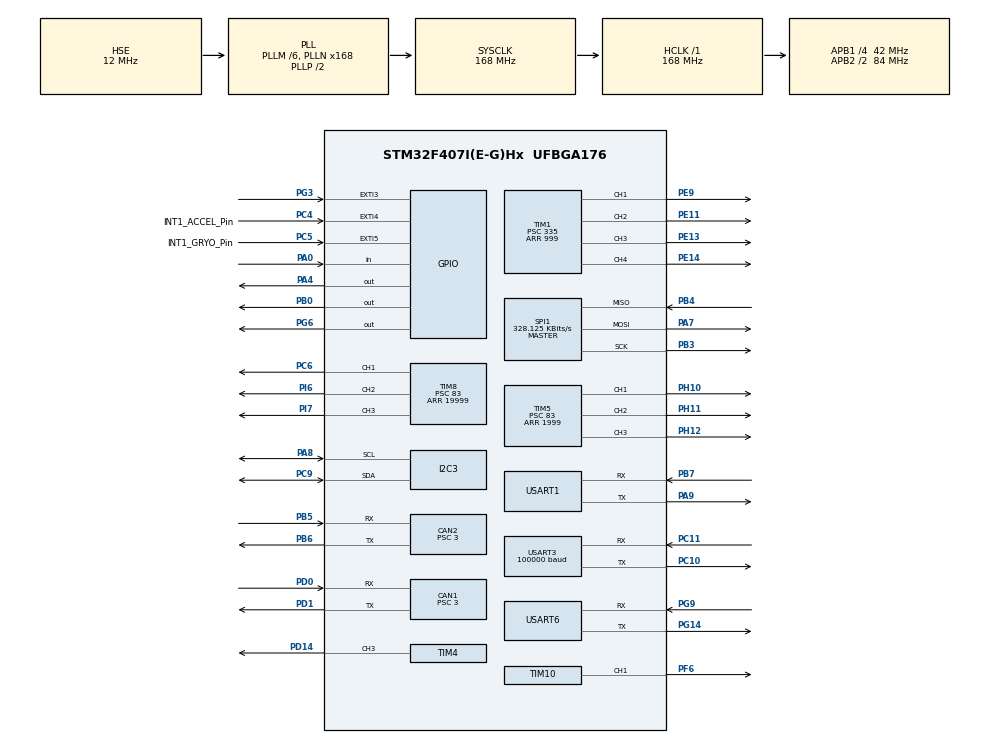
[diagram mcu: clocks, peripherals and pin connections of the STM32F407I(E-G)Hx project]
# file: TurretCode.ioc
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CAN1.BS1=CAN_BS1_10TQ
CAN1.BS2=CAN_BS2_3TQ
CAN1.CalculateBaudRate=1000000
CAN1.CalculateTimeBit=1000
CAN1.CalculateTimeQuantum=71.42857142857143
CAN1.Prescaler=3
CAN2.BS1=CAN_BS1_10TQ
CAN2.BS2=CAN_BS2_3TQ
CAN2.CalculateBaudRate=1000000
CAN2.CalculateTimeBit=1000
CAN2.CalculateTimeQuantum=71.42857142857143
CAN2.Prescaler=3
Dma.Request0=USART3_RX
Dma.Request1=USART1_TX
Dma.Request2=USART1_RX
Dma.Request3=USART6_RX
Dma.Request4=USART6_TX
Dma.Request5=TIM1_CH1
Dma.Request6=TIM8_CH1/CH2/CH3
Dma.Request7=TIM4_CH3
Dma.Request8=TIM5_CH1
Dma.Request9=TIM5_CH2
Dma.TIM1_CH1.5.Direction=DMA_PERIPH_TO_MEMORY
Dma.TIM1_CH1.5.FIFOMode=DMA_FIFOMODE_DISABLE
Dma.TIM1_CH1.5.Instance=DMA2_Stream3
Dma.TIM1_CH1.5.MemDataAlignment=DMA_MDATAALIGN_HALFWORD
Dma.TIM1_CH1.5.MemInc=DMA_MINC_ENABLE
Dma.TIM1_CH1.5.Mode=DMA_NORMAL
Dma.TIM1_CH1.5.PeriphDataAlignment=DMA_PDATAALIGN_HALFWORD
Dma.TIM1_CH1.5.PeriphInc=DMA_PINC_DISABLE
Dma.TIM1_CH1.5.Priority=DMA_PRIORITY_LOW
Dma.TIM4_CH3.7.Direction=DMA_PERIPH_TO_MEMORY
Dma.TIM4_CH3.7.FIFOMode=DMA_FIFOMODE_DISABLE
Dma.TIM4_CH3.7.Instance=DMA1_Stream7
Dma.TIM4_CH3.7.MemDataAlignment=DMA_MDATAALIGN_HALFWORD
Dma.TIM4_CH3.7.MemInc=DMA_MINC_ENABLE
Dma.TIM4_CH3.7.Mode=DMA_NORMAL
Dma.TIM4_CH3.7.PeriphDataAlignment=DMA_PDATAALIGN_HALFWORD
Dma.TIM4_CH3.7.PeriphInc=DMA_PINC_DISABLE
Dma.TIM4_CH3.7.Priority=DMA_PRIORITY_LOW
Dma.TIM5_CH1.8.Direction=DMA_PERIPH_TO_MEMORY
Dma.TIM5_CH1.8.FIFOMode=DMA_FIFOMODE_DISABLE
Dma.TIM5_CH1.8.Instance=DMA1_Stream2
Dma.TIM5_CH1.8.MemDataAlignment=DMA_MDATAALIGN_WORD
Dma.TIM5_CH1.8.MemInc=DMA_MINC_ENABLE
Dma.TIM5_CH1.8.Mode=DMA_NORMAL
Dma.TIM5_CH1.8.PeriphDataAlignment=DMA_PDATAALIGN_WORD
Dma.TIM5_CH1.8.PeriphInc=DMA_PINC_DISABLE
Dma.TIM5_CH1.8.Priority=DMA_PRIORITY_LOW
Dma.TIM5_CH2.9.Direction=DMA_PERIPH_TO_MEMORY
Dma.TIM5_CH2.9.FIFOMode=DMA_FIFOMODE_DISABLE
Dma.TIM5_CH2.9.Instance=DMA1_Stream4
Dma.TIM5_CH2.9.MemDataAlignment=DMA_MDATAALIGN_WORD
Dma.TIM5_CH2.9.MemInc=DMA_MINC_ENABLE
Dma.TIM5_CH2.9.Mode=DMA_NORMAL
Dma.TIM5_CH2.9.PeriphDataAlignment=DMA_PDATAALIGN_WORD
Dma.TIM5_CH2.9.PeriphInc=DMA_PINC_DISABLE
Dma.TIM5_CH2.9.Priority=DMA_PRIORITY_LOW
Dma.TIM8_CH1/CH2/CH3.6.Direction=DMA_PERIPH_TO_MEMORY
Dma.TIM8_CH1/CH2/CH3.6.FIFOMode=DMA_FIFOMODE_DISABLE
Dma.TIM8_CH1/CH2/CH3.6.Instance=DMA2_Stream2
Dma.TIM8_CH1/CH2/CH3.6.MemDataAlignment=DMA_MDATAALIGN_HALFWORD
Dma.TIM8_CH1/CH2/CH3.6.MemInc=DMA_MINC_ENABLE
Dma.TIM8_CH1/CH2/CH3.6.Mode=DMA_NORMAL
Dma.TIM8_CH1/CH2/CH3.6.PeriphDataAlignment=DMA_PDATAALIGN_HALFWORD
Dma.TIM8_CH1/CH2/CH3.6.PeriphInc=DMA_PINC_DISABLE
Dma.TIM8_CH1/CH2/CH3.6.Priority=DMA_PRIORITY_LOW
Dma.USART1_RX.2.Direction=DMA_PERIPH_TO_MEMORY
Dma.USART1_RX.2.FIFOMode=DMA_FIFOMODE_DISABLE
Dma.USART1_RX.2.Instance=DMA2_Stream5
Dma.USART1_RX.2.MemDataAlignment=DMA_MDATAALIGN_BYTE
Dma.USART1_RX.2.MemInc=DMA_MINC_ENABLE
Dma.USART1_RX.2.Mode=DMA_NORMAL
Dma.USART1_RX.2.PeriphDataAlignment=DMA_PDATAALIGN_BYTE
Dma.USART1_RX.2.PeriphInc=DMA_PINC_DISABLE
Dma.USART1_RX.2.Priority=DMA_PRIORITY_VERY_HIGH
Dma.USART1_TX.1.Direction=DMA_MEMORY_TO_PERIPH
Dma.USART1_TX.1.FIFOMode=DMA_FIFOMODE_DISABLE
Dma.USART1_TX.1.Instance=DMA2_Stream7
Dma.USART1_TX.1.MemDataAlignment=DMA_MDATAALIGN_BYTE
Dma.USART1_TX.1.MemInc=DMA_MINC_ENABLE
Dma.USART1_TX.1.Mode=DMA_NORMAL
Dma.USART1_TX.1.PeriphDataAlignment=DMA_PDATAALIGN_BYTE
Dma.USART1_TX.1.PeriphInc=DMA_PINC_DISABLE
Dma.USART1_TX.1.Priority=DMA_PRIORITY_VERY_HIGH
Dma.USART3_RX.0.Direction=DMA_PERIPH_TO_MEMORY
Dma.USART3_RX.0.FIFOMode=DMA_FIFOMODE_DISABLE
Dma.USART3_RX.0.Instance=DMA1_Stream1
Dma.USART3_RX.0.MemDataAlignment=DMA_MDATAALIGN_BYTE
Dma.USART3_RX.0.MemInc=DMA_MINC_ENABLE
Dma.USART3_RX.0.Mode=DMA_CIRCULAR
Dma.USART3_RX.0.PeriphDataAlignment=DMA_PDATAALIGN_BYTE
Dma.USART3_RX.0.PeriphInc=DMA_PINC_DISABLE
Dma.USART3_RX.0.Priority=DMA_PRIORITY_VERY_HIGH
Dma.USART6_RX.3.Direction=DMA_PERIPH_TO_MEMORY
Dma.USART6_RX.3.FIFOMode=DMA_FIFOMODE_DISABLE
Dma.USART6_RX.3.Instance=DMA2_Stream1
Dma.USART6_RX.3.MemDataAlignment=DMA_MDATAALIGN_BYTE
Dma.USART6_RX.3.MemInc=DMA_MINC_ENABLE
Dma.USART6_RX.3.Mode=DMA_NORMAL
Dma.USART6_RX.3.PeriphDataAlignment=DMA_PDATAALIGN_BYTE
Dma.USART6_RX.3.PeriphInc=DMA_PINC_DISABLE
Dma.USART6_RX.3.Priority=DMA_PRIORITY_VERY_HIGH
Dma.USART6_TX.4.Direction=DMA_MEMORY_TO_PERIPH
Dma.USART6_TX.4.FIFOMode=DMA_FIFOMODE_DISABLE
Dma.USART6_TX.4.Instance=DMA2_Stream6
Dma.USART6_TX.4.MemDataAlignment=DMA_MDATAALIGN_BYTE
Dma.USART6_TX.4.MemInc=DMA_MINC_ENABLE
Dma.USART6_TX.4.Mode=DMA_NORMAL
Dma.USART6_TX.4.PeriphDataAlignment=DMA_PDATAALIGN_BYTE
Dma.USART6_TX.4.PeriphInc=DMA_PINC_DISABLE
Dma.USART6_TX.4.Priority=DMA_PRIORITY_VERY_HIGH
FREERTOS.INCLUDE_pcTaskGetTaskName=1
FREERTOS.INCLUDE_xTaskGetHandle=1
FREERTOS.Tasks01=defaultTask,32,1024,TaskMain,Default,NULL,Dynamic,NULL,NULL;chassisTask,40,1024,TaskChassis,Default,NULL,Dynamic,NULL,NULL;IMUtempPIDtask,24,512,imu_temp_control_task,As weak,NULL,Dynamic,NULL,NULL;turretTask,24,1024,TaskTurret,Default,NULL,Dynamic,NULL,NULL
FREERTOS.configUSE_NEWLIB_REENTRANT=1
I2C3.I2C_Mode=I2C_Fast
Mcu.Family=STM32F4
Mcu.Name=STM32F407I(E-G)Hx
Mcu.Package=UFBGA176
NVIC.CAN1_RX0_IRQn=true\:5\:0\:false\:false\:true\:true\:true\:true\:true
NVIC.CAN2_RX0_IRQn=true\:5\:0\:false\:false\:true\:true\:true\:true\:true
NVIC.DMA1_Stream1_IRQn=true\:5\:0\:false\:false\:true\:true\:false\:true\:true
NVIC.DMA1_Stream2_IRQn=true\:5\:0\:false\:false\:true\:true\:false\:true\:true
NVIC.DMA1_Stream4_IRQn=true\:5\:0\:false\:false\:true\:true\:false\:true\:true
NVIC.DMA1_Stream7_IRQn=true\:5\:0\:false\:false\:true\:true\:false\:true\:true
NVIC.DMA2_Stream1_IRQn=true\:5\:0\:false\:false\:true\:true\:false\:true\:true
NVIC.DMA2_Stream2_IRQn=true\:5\:0\:false\:false\:true\:true\:false\:true\:true
NVIC.DMA2_Stream3_IRQn=true\:5\:0\:false\:false\:true\:true\:false\:true\:true
NVIC.DMA2_Stream5_IRQn=true\:5\:0\:false\:false\:true\:false\:false\:true\:true
NVIC.DMA2_Stream6_IRQn=true\:5\:0\:false\:false\:true\:true\:false\:true\:true
NVIC.DMA2_Stream7_IRQn=true\:5\:0\:false\:false\:true\:true\:false\:true\:true
NVIC.EXTI3_IRQn=true\:5\:0\:false\:false\:true\:true\:true\:true\:true
NVIC.EXTI4_IRQn=true\:5\:0\:false\:false\:true\:true\:true\:true\:true
NVIC.PriorityGroup=NVIC_PRIORITYGROUP_4
NVIC.USART1_IRQn=true\:5\:0\:false\:false\:true\:true\:true\:true\:true
NVIC.USART3_IRQn=true\:5\:0\:false\:false\:false\:true\:true\:true\:true
NVIC.USART6_IRQn=true\:5\:0\:false\:false\:true\:true\:true\:true\:true
PA0-WKUP.Signal=GPIO_Input
PA13.Mode=Serial_Wire
PA13.Signal=SYS_JTMS-SWDIO
PA14.Mode=Serial_Wire
PA14.Signal=SYS_JTCK-SWCLK
PA4.Signal=GPIO_Output
PA7.Mode=Full_Duplex_Master
PA7.Signal=SPI1_MOSI
PA8.Mode=I2C
PA8.Signal=I2C3_SCL
PA9.Mode=Asynchronous
PA9.Signal=USART1_TX
PB0.Signal=GPIO_Output
PB3.Mode=Full_Duplex_Master
PB3.Signal=SPI1_SCK
PB4.Mode=Full_Duplex_Master
PB4.Signal=SPI1_MISO
PB5.Mode=CAN_Activate
PB5.Signal=CAN2_RX
PB6.Mode=CAN_Activate
PB6.Signal=CAN2_TX
PB7.Mode=Asynchronous
PB7.Signal=USART1_RX
PC10.Mode=Asynchronous
PC10.Signal=USART3_TX
PC11.Mode=Asynchronous
PC11.Signal=USART3_RX
PC4.GPIO_Label=INT1_ACCEL_Pin
PC4.Signal=GPXTI4
PC5.GPIO_Label=INT1_GRYO_Pin
PC5.Signal=GPXTI5
PC6.Signal=S_TIM8_CH1
PC9.Mode=I2C
PC9.Signal=I2C3_SDA
PD0.Mode=CAN_Activate
PD0.Signal=CAN1_RX
PD1.Mode=CAN_Activate
PD1.Signal=CAN1_TX
PD14.Signal=S_TIM4_CH3
PE11.Signal=S_TIM1_CH2
PE13.Signal=S_TIM1_CH3
PE14.Signal=S_TIM1_CH4
PE9.Signal=S_TIM1_CH1
PF6.GPIO_PuPd=GPIO_PULLUP
PF6.GPIO_Speed=GPIO_SPEED_FREQ_HIGH
PF6.Signal=S_TIM10_CH1
PG14.Mode=Asynchronous
PG14.Signal=USART6_TX
PG3.Signal=GPXTI3
PG6.Signal=GPIO_Output
PG9.Mode=Asynchronous
PG9.Signal=USART6_RX
PH0-OSC_IN.Mode=HSE-External-Oscillator
PH0-OSC_IN.Signal=RCC_OSC_IN
PH1-OSC_OUT.Mode=HSE-External-Oscillator
PH1-OSC_OUT.Signal=RCC_OSC_OUT
PH10.Signal=S_TIM5_CH1
PH11.Signal=S_TIM5_CH2
PH12.Signal=S_TIM5_CH3
PI6.Signal=S_TIM8_CH2
PI7.Signal=S_TIM8_CH3
ProjectManager.HeapSize=0x200
ProjectManager.StackSize=0x400
ProjectManager.TargetToolchain=STM32CubeIDE
RCC.48MHZClocksFreq_Value=84000000
RCC.AHBFreq_Value=168000000
RCC.APB1CLKDivider=RCC_HCLK_DIV4
RCC.APB1Freq_Value=42000000
RCC.APB1TimFreq_Value=84000000
RCC.APB2CLKDivider=RCC_HCLK_DIV2
RCC.APB2Freq_Value=84000000
RCC.APB2TimFreq_Value=168000000
RCC.CortexFreq_Value=168000000
RCC.EnbaleCSS=true
RCC.HCLKFreq_Value=168000000
RCC.HSE_VALUE=12000000
RCC.HSI_VALUE=16000000
RCC.LSE_VALUE=32768
RCC.PLLM=6
RCC.PLLN=168
RCC.PLLSourceVirtual=RCC_PLLSOURCE_HSE
RCC.SYSCLKFreq_VALUE=168000000
RCC.SYSCLKSource=RCC_SYSCLKSOURCE_PLLCLK
RCC.VCOOutputFreq_Value=336000000
SH.S_TIM10_CH1.0=TIM10_CH1,PWM Generation1 CH1
SH.S_TIM1_CH1.0=TIM1_CH1,PWM Generation1 CH1
SH.S_TIM1_CH2.0=TIM1_CH2,PWM Generation2 CH2
SH.S_TIM1_CH3.0=TIM1_CH3,PWM Generation3 CH3
SH.S_TIM1_CH4.0=TIM1_CH4,PWM Generation4 CH4
SH.S_TIM4_CH3.0=TIM4_CH3,PWM Generation3 CH3
SH.S_TIM5_CH1.0=TIM5_CH1,PWM Generation1 CH1
SH.S_TIM5_CH2.0=TIM5_CH2,PWM Generation2 CH2
SH.S_TIM5_CH3.0=TIM5_CH3,PWM Generation3 CH3
SH.S_TIM8_CH1.0=TIM8_CH1,PWM Generation1 CH1
SH.S_TIM8_CH2.0=TIM8_CH2,PWM Generation2 CH2
SH.S_TIM8_CH3.0=TIM8_CH3,PWM Generation3 CH3
SPI1.BaudRatePrescaler=SPI_BAUDRATEPRESCALER_256
SPI1.CLKPhase=SPI_PHASE_2EDGE
SPI1.CLKPolarity=SPI_POLARITY_HIGH
SPI1.CalculateBaudRate=328.125 KBits/s
SPI1.Direction=SPI_DIRECTION_2LINES
SPI1.Mode=SPI_MODE_MASTER
SPI1.VirtualType=VM_MASTER
TIM1.AutoReloadPreload=TIM_AUTORELOAD_PRELOAD_DISABLE
TIM1.Channel-PWM\ Generation1\ CH1=TIM_CHANNEL_1
TIM1.Channel-PWM\ Generation2\ CH2=TIM_CHANNEL_2
TIM1.Channel-PWM\ Generation3\ CH3=TIM_CHANNEL_3
TIM1.Channel-PWM\ Generation4\ CH4=TIM_CHANNEL_4
TIM1.Period=999
TIM1.Prescaler=335
TIM1.Pulse-PWM\ Generation1\ CH1=0
TIM10.Channel=TIM_CHANNEL_1
TIM10.Period=4999
TIM4.AutoReloadPreload=TIM_AUTORELOAD_PRELOAD_ENABLE
TIM4.Channel-PWM\ Generation3\ CH3=TIM_CHANNEL_3
TIM4.Period=249
TIM4.Prescaler=83
TIM4.Pulse-PWM\ Generation3\ CH3=10499
TIM5.Channel-PWM\ Generation1\ CH1=TIM_CHANNEL_1
TIM5.Channel-PWM\ Generation2\ CH2=TIM_CHANNEL_2
TIM5.Channel-PWM\ Generation3\ CH3=TIM_CHANNEL_3
TIM5.Period=1999
TIM5.Prescaler=83
TIM8.AutoReloadPreload=TIM_AUTORELOAD_PRELOAD_ENABLE
TIM8.Channel-PWM\ Generation1\ CH1=TIM_CHANNEL_1
TIM8.Channel-PWM\ Generation2\ CH2=TIM_CHANNEL_2
TIM8.Channel-PWM\ Generation3\ CH3=TIM_CHANNEL_3
TIM8.Period=19999
TIM8.Prescaler=83
USART1.VirtualMode=VM_ASYNC
USART3.BaudRate=100000
USART3.Parity=PARITY_EVEN
USART3.VirtualMode=VM_ASYNC
USART6.VirtualMode=VM_ASYNC
VP_FREERTOS_VS_CMSIS_V2.Mode=CMSIS_V2
VP_TIM10_VS_ClockSourceINT.Mode=Enable_Timer
VP_TIM4_VS_ClockSourceINT.Mode=Internal
board=custom

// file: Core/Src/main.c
/* USER CODE BEGIN Header */
/**
  ******************************************************************************
  * @file           : main.c
  * @brief          : Main program body
  ******************************************************************************
  * @attention
  *
  * Copyright (c) 2024 STMicroelectronics.
  * All rights reserved.
  *
  * This software is licensed under terms that can be found in the LICENSE file
  * in the root directory of this software component.
  * If no LICENSE file comes with this software, it is provided AS-IS.
  *
  ******************************************************************************
  */
/* USER CODE END Header */
#include "main.h"
#include "cmsis_os.h"

/* USER CODE BEGIN Includes */
#include "CAN_receive.h"
#include "bsp_can.h"
#include "remote_control.h"
#include "bsp_rc.h"
#include "UART.h"
#include "stdio.h"
#include "stdarg.h"
#include "string.h"
#include "BMI088driver.h"
#include "pid.h"
#include "bsp_imu_pwm.h"
#include "ist8310driver.h"
#include "math.h"
#include "ctrl_handling.h"
#include "pwm.h"
/* USER CODE END Includes */

CAN_HandleTypeDef hcan1;
CAN_HandleTypeDef hcan2;

I2C_HandleTypeDef hi2c3;

SPI_HandleTypeDef hspi1;

TIM_HandleTypeDef htim1;
TIM_HandleTypeDef htim4;
TIM_HandleTypeDef htim5;
TIM_HandleTypeDef htim8;
TIM_HandleTypeDef htim10;
DMA_HandleTypeDef hdma_tim1_ch1;
DMA_HandleTypeDef hdma_tim4_ch3;
DMA_HandleTypeDef hdma_tim5_ch1;
DMA_HandleTypeDef hdma_tim5_ch2;
DMA_HandleTypeDef hdma_tim8_ch1_ch2_ch3;

UART_HandleTypeDef huart1;
UART_HandleTypeDef huart3;
UART_HandleTypeDef huart6;
DMA_HandleTypeDef hdma_usart1_tx;
DMA_HandleTypeDef hdma_usart1_rx;
DMA_HandleTypeDef hdma_usart3_rx;
DMA_HandleTypeDef hdma_usart6_rx;
DMA_HandleTypeDef hdma_usart6_tx;

/* Definitions for defaultTask */
osThreadId_t defaultTaskHandle;
const osThreadAttr_t defaultTask_attributes = {
  .name = "defaultTask",
  .stack_size = 1024 * 4,
  .priority = (osPriority_t) osPriorityAboveNormal,
};
/* Definitions for chassisTask */
osThreadId_t chassisTaskHandle;
const osThreadAttr_t chassisTask_attributes = {
  .name = "chassisTask",
  .stack_size = 1024 * 4,
  .priority = (osPriority_t) osPriorityHigh,
};
/* Definitions for IMUtempPIDtask */
osThreadId_t IMUtempPIDtaskHandle;
const osThreadAttr_t IMUtempPIDtask_attributes = {
  .name = "IMUtempPIDtask",
  .stack_size = 512 * 4,
  .priority = (osPriority_t) osPriorityNormal,
};
/* Definitions for turretTask */
osThreadId_t turretTaskHandle;
const osThreadAttr_t turretTask_attributes = {
  .name = "turretTask",
  .stack_size = 1024 * 4,
  .priority = (osPriority_t) osPriorityNormal,
};
/* USER CODE BEGIN PV */
const RC_ctrl_t *local_rc_ctrl;

PID_preset_t chassisPreset = {3.6, 0.015, 4.2};  //0.8f, 0.025f, 0.95f   {1.6, 0.045, 0.10}; 32 0.42
PID_preset_t yawPresetCurrentRPM = {46, 10.0, 16.4};
PID_preset_t yawPresetVoltageRPM = {50, 8.0, 2.0};
PID_preset_t yawPresetCurrentPosition = {12, 1, 0.0};
PID_preset_t yawPresetVoltagePosition = {36, 0.3, 0.0};
PID_preset_t indexerPreset = {1.1f, 0.02f, -2.4f};
PID_preset_t shooterPreset = {1.20f, 0.12f, 1.60f};
PID_preset_t powerPreset = {0, 0.000000000001, 0};
PID_preset_t customPreset = {0, 0, 0};
PID_preset_t DONUTMOTOR = {50, 8.0, 2.0}; // 46, 10, 16.4

int target = 2000;

can_msg_id_e boardID = CAN_b2b_B_ID;               // remember to change the board ID, board A - chassis, board B - Pitch axis

chassis_motor_config chassis = {{1,2,3,4,0,0,0,0}};
chassis_motor_RPM chassisTargetRPM = {{0,0,0,0,0,0,0,0}};
chassis_motor_current chassisTargetCurrent = {{0,0,0,0,0,0,0,0}};

extern game_status_t game_status;
extern power_heat_data_t power_heat_data;
extern robot_status_t robot_status;
extern b2b_motorCtrl_t b2bMotorCtrl;
extern b2b_gyro_t b2bGyro;
extern pc_control_t pc_control;
extern int8_t whichPWMisOn[11];

float calcChassisPower = 0;

/* USER CODE END PV */

void SystemClock_Config(void);
static void MX_GPIO_Init(void);
static void MX_DMA_Init(void);
static void MX_CAN1_Init(void);
static void MX_CAN2_Init(void);
static void MX_SPI1_Init(void);
static void MX_TIM4_Init(void);
static void MX_USART1_UART_Init(void);
static void MX_USART6_UART_Init(void);
static void MX_TIM1_Init(void);
static void MX_TIM8_Init(void);
static void MX_USART3_UART_Init(void);
static void MX_TIM10_Init(void);
static void MX_I2C3_Init(void);
static void MX_TIM5_Init(void);
void TaskMain(void *argument);
void TaskChassis(void *argument);
void imu_temp_control_task(void *argument);
void TaskTurret(void *argument);

int main(void)
{

  /* MCU Configuration--------------------------------------------------------*/

  /* Reset of all peripherals, Initializes the Flash interface and the Systick. */
  HAL_Init();

  /* Configure the system clock */
  SystemClock_Config();

  /* Initialize all configured peripherals */
  MX_GPIO_Init();
  MX_DMA_Init();
  MX_CAN1_Init();
  MX_CAN2_Init();
  MX_SPI1_Init();
  MX_TIM4_Init();
  MX_USART1_UART_Init();
  MX_USART6_UART_Init();
  MX_TIM1_Init();
  MX_TIM8_Init();
  MX_USART3_UART_Init();
  MX_TIM10_Init();
  MX_I2C3_Init();
  MX_TIM5_Init();
  /* USER CODE BEGIN 2 */
  PWMInit(&htim1, &htim4, &htim5, &htim8);
  can_filter_init();
  remote_control_init();
  usart_Init();
  local_rc_ctrl = get_remote_control_point();

  //__HAL_UART_ENABLE_IT(&huart1,UART_IT_IDLE);
  /* USER CODE END 2 */

  /* Init scheduler */
  osKernelInitialize();

  /* Create the thread(s) */
  /* creation of defaultTask */
  defaultTaskHandle = osThreadNew(TaskMain, NULL, &defaultTask_attributes);

  /* creation of chassisTask */
  chassisTaskHandle = osThreadNew(TaskChassis, NULL, &chassisTask_attributes);

  /* creation of IMUtempPIDtask */
  IMUtempPIDtaskHandle = osThreadNew(imu_temp_control_task, NULL, &IMUtempPIDtask_attributes);

  /* creation of turretTask */
  turretTaskHandle = osThreadNew(TaskTurret, NULL, &turretTask_attributes);

  /* Start scheduler */
  osKernelStart();

  /* We should never get here as control is now taken by the scheduler */

  /* Infinite loop */
  while (1)
  {

  }
}

void SystemClock_Config(void)
{
  RCC_OscInitTypeDef RCC_OscInitStruct = {0};
  RCC_ClkInitTypeDef RCC_ClkInitStruct = {0};

  /** Configure the main internal regulator output voltage
  */
  __HAL_RCC_PWR_CLK_ENABLE();
  __HAL_PWR_VOLTAGESCALING_CONFIG(PWR_REGULATOR_VOLTAGE_SCALE1);

  /** Initializes the RCC Oscillators according to the specified parameters
  * in the RCC_OscInitTypeDef structure.
  */
  RCC_OscInitStruct.OscillatorType = RCC_OSCILLATORTYPE_HSE;
  RCC_OscInitStruct.HSEState = RCC_HSE_ON;
  RCC_OscInitStruct.PLL.PLLState = RCC_PLL_ON;
  RCC_OscInitStruct.PLL.PLLSource = RCC_PLLSOURCE_HSE;
  RCC_OscInitStruct.PLL.PLLM = 6;
  RCC_OscInitStruct.PLL.PLLN = 168;
  RCC_OscInitStruct.PLL.PLLP = RCC_PLLP_DIV2;
  RCC_OscInitStruct.PLL.PLLQ = 4;
  if (HAL_RCC_OscConfig(&RCC_OscInitStruct) != HAL_OK)
  {
    Error_Handler();
  }

  /** Initializes the CPU, AHB and APB buses clocks
  */
  RCC_ClkInitStruct.ClockType = RCC_CLOCKTYPE_HCLK|RCC_CLOCKTYPE_SYSCLK
                              |RCC_CLOCKTYPE_PCLK1|RCC_CLOCKTYPE_PCLK2;
  RCC_ClkInitStruct.SYSCLKSource = RCC_SYSCLKSOURCE_PLLCLK;
  RCC_ClkInitStruct.AHBCLKDivider = RCC_SYSCLK_DIV1;
  RCC_ClkInitStruct.APB1CLKDivider = RCC_HCLK_DIV4;
  RCC_ClkInitStruct.APB2CLKDivider = RCC_HCLK_DIV2;

  if (HAL_RCC_ClockConfig(&RCC_ClkInitStruct, FLASH_LATENCY_5) != HAL_OK)
  {
    Error_Handler();
  }

  /** Enables the Clock Security System
  */
  HAL_RCC_EnableCSS();
}

static void MX_CAN1_Init(void)
{

  hcan1.Instance = CAN1;
  hcan1.Init.Prescaler = 3;
  hcan1.Init.Mode = CAN_MODE_NORMAL;
  hcan1.Init.SyncJumpWidth = CAN_SJW_1TQ;
  hcan1.Init.TimeSeg1 = CAN_BS1_10TQ;
  hcan1.Init.TimeSeg2 = CAN_BS2_3TQ;
  hcan1.Init.TimeTriggeredMode = DISABLE;
  hcan1.Init.AutoBusOff = DISABLE;
  hcan1.Init.AutoWakeUp = DISABLE;
  hcan1.Init.AutoRetransmission = DISABLE;
  hcan1.Init.ReceiveFifoLocked = DISABLE;
  hcan1.Init.TransmitFifoPriority = DISABLE;
  if (HAL_CAN_Init(&hcan1) != HAL_OK)
  {
    Error_Handler();
  }

}

static void MX_CAN2_Init(void)
{

  hcan2.Instance = CAN2;
  hcan2.Init.Prescaler = 3;
  hcan2.Init.Mode = CAN_MODE_NORMAL;
  hcan2.Init.SyncJumpWidth = CAN_SJW_1TQ;
  hcan2.Init.TimeSeg1 = CAN_BS1_10TQ;
  hcan2.Init.TimeSeg2 = CAN_BS2_3TQ;
  hcan2.Init.TimeTriggeredMode = DISABLE;
  hcan2.Init.AutoBusOff = DISABLE;
  hcan2.Init.AutoWakeUp = DISABLE;
  hcan2.Init.AutoRetransmission = DISABLE;
  hcan2.Init.ReceiveFifoLocked = DISABLE;
  hcan2.Init.TransmitFifoPriority = DISABLE;
  if (HAL_CAN_Init(&hcan2) != HAL_OK)
  {
    Error_Handler();
  }

}

static void MX_I2C3_Init(void)
{

  hi2c3.Instance = I2C3;
  hi2c3.Init.ClockSpeed = 400000;
  hi2c3.Init.DutyCycle = I2C_DUTYCYCLE_2;
  hi2c3.Init.OwnAddress1 = 0;
  hi2c3.Init.AddressingMode = I2C_ADDRESSINGMODE_7BIT;
  hi2c3.Init.DualAddressMode = I2C_DUALADDRESS_DISABLE;
  hi2c3.Init.OwnAddress2 = 0;
  hi2c3.Init.GeneralCallMode = I2C_GENERALCALL_DISABLE;
  hi2c3.Init.NoStretchMode = I2C_NOSTRETCH_DISABLE;
  if (HAL_I2C_Init(&hi2c3) != HAL_OK)
  {
    Error_Handler();
  }

}

static void MX_SPI1_Init(void)
{

  /* SPI1 parameter configuration*/
  hspi1.Instance = SPI1;
  hspi1.Init.Mode = SPI_MODE_MASTER;
  hspi1.Init.Direction = SPI_DIRECTION_2LINES;
  hspi1.Init.DataSize = SPI_DATASIZE_8BIT;
  hspi1.Init.CLKPolarity = SPI_POLARITY_HIGH;
  hspi1.Init.CLKPhase = SPI_PHASE_2EDGE;
  hspi1.Init.NSS = SPI_NSS_SOFT;
  hspi1.Init.BaudRatePrescaler = SPI_BAUDRATEPRESCALER_256;
  hspi1.Init.FirstBit = SPI_FIRSTBIT_MSB;
  hspi1.Init.TIMode = SPI_TIMODE_DISABLE;
  hspi1.Init.CRCCalculation = SPI_CRCCALCULATION_DISABLE;
  hspi1.Init.CRCPolynomial = 10;
  if (HAL_SPI_Init(&hspi1) != HAL_OK)
  {
    Error_Handler();
  }

}

static void MX_TIM1_Init(void)
{

  TIM_MasterConfigTypeDef sMasterConfig = {0};
  TIM_OC_InitTypeDef sConfigOC = {0};
  TIM_BreakDeadTimeConfigTypeDef sBreakDeadTimeConfig = {0};

  htim1.Instance = TIM1;
  htim1.Init.Prescaler = 335;
  htim1.Init.CounterMode = TIM_COUNTERMODE_UP;
  htim1.Init.Period = 999;
  htim1.Init.ClockDivision = TIM_CLOCKDIVISION_DIV1;
  htim1.Init.RepetitionCounter = 0;
  htim1.Init.AutoReloadPreload = TIM_AUTORELOAD_PRELOAD_DISABLE;
  if (HAL_TIM_PWM_Init(&htim1) != HAL_OK)
  {
    Error_Handler();
  }
  sMasterConfig.MasterOutputTrigger = TIM_TRGO_RESET;
  sMasterConfig.MasterSlaveMode = TIM_MASTERSLAVEMODE_DISABLE;
  if (HAL_TIMEx_MasterConfigSynchronization(&htim1, &sMasterConfig) != HAL_OK)
  {
    Error_Handler();
  }
  sConfigOC.OCMode = TIM_OCMODE_PWM1;
  sConfigOC.Pulse = 0;
  sConfigOC.OCPolarity = TIM_OCPOLARITY_HIGH;
  sConfigOC.OCNPolarity = TIM_OCNPOLARITY_HIGH;
  sConfigOC.OCFastMode = TIM_OCFAST_DISABLE;
  sConfigOC.OCIdleState = TIM_OCIDLESTATE_RESET;
  sConfigOC.OCNIdleState = TIM_OCNIDLESTATE_RESET;
  if (HAL_TIM_PWM_ConfigChannel(&htim1, &sConfigOC, TIM_CHANNEL_1) != HAL_OK)
  {
    Error_Handler();
  }
  if (HAL_TIM_PWM_ConfigChannel(&htim1, &sConfigOC, TIM_CHANNEL_2) != HAL_OK)
  {
    Error_Handler();
  }
  if (HAL_TIM_PWM_ConfigChannel(&htim1, &sConfigOC, TIM_CHANNEL_3) != HAL_OK)
  {
    Error_Handler();
  }
  if (HAL_TIM_PWM_ConfigChannel(&htim1, &sConfigOC, TIM_CHANNEL_4) != HAL_OK)
  {
    Error_Handler();
  }
  sBreakDeadTimeConfig.OffStateRunMode = TIM_OSSR_DISABLE;
  sBreakDeadTimeConfig.OffStateIDLEMode = TIM_OSSI_DISABLE;
  sBreakDeadTimeConfig.LockLevel = TIM_LOCKLEVEL_OFF;
  sBreakDeadTimeConfig.DeadTime = 0;
  sBreakDeadTimeConfig.BreakState = TIM_BREAK_DISABLE;
  sBreakDeadTimeConfig.BreakPolarity = TIM_BREAKPOLARITY_HIGH;
  sBreakDeadTimeConfig.AutomaticOutput = TIM_AUTOMATICOUTPUT_DISABLE;
  if (HAL_TIMEx_ConfigBreakDeadTime(&htim1, &sBreakDeadTimeConfig) != HAL_OK)
  {
    Error_Handler();
  }
  HAL_TIM_MspPostInit(&htim1);

}

static void MX_TIM4_Init(void)
{

  TIM_ClockConfigTypeDef sClockSourceConfig = {0};
  TIM_MasterConfigTypeDef sMasterConfig = {0};
  TIM_OC_InitTypeDef sConfigOC = {0};

  htim4.Instance = TIM4;
  htim4.Init.Prescaler = 83;
  htim4.Init.CounterMode = TIM_COUNTERMODE_UP;
  htim4.Init.Period = 249;
  htim4.Init.ClockDivision = TIM_CLOCKDIVISION_DIV1;
  htim4.Init.AutoReloadPreload = TIM_AUTORELOAD_PRELOAD_ENABLE;
  if (HAL_TIM_Base_Init(&htim4) != HAL_OK)
  {
    Error_Handler();
  }
  sClockSourceConfig.ClockSource = TIM_CLOCKSOURCE_INTERNAL;
  if (HAL_TIM_ConfigClockSource(&htim4, &sClockSourceConfig) != HAL_OK)
  {
    Error_Handler();
  }
  if (HAL_TIM_PWM_Init(&htim4) != HAL_OK)
  {
    Error_Handler();
  }
  sMasterConfig.MasterOutputTrigger = TIM_TRGO_RESET;
  sMasterConfig.MasterSlaveMode = TIM_MASTERSLAVEMODE_DISABLE;
  if (HAL_TIMEx_MasterConfigSynchronization(&htim4, &sMasterConfig) != HAL_OK)
  {
    Error_Handler();
  }
  sConfigOC.OCMode = TIM_OCMODE_PWM1;
  sConfigOC.Pulse = 10499;
  sConfigOC.OCPolarity = TIM_OCPOLARITY_HIGH;
  sConfigOC.OCFastMode = TIM_OCFAST_DISABLE;
  if (HAL_TIM_PWM_ConfigChannel(&htim4, &sConfigOC, TIM_CHANNEL_3) != HAL_OK)
  {
    Error_Handler();
  }
  HAL_TIM_MspPostInit(&htim4);

}

static void MX_TIM5_Init(void)
{

  TIM_MasterConfigTypeDef sMasterConfig = {0};
  TIM_OC_InitTypeDef sConfigOC = {0};

  htim5.Instance = TIM5;
  htim5.Init.Prescaler = 83;
  htim5.Init.CounterMode = TIM_COUNTERMODE_UP;
  htim5.Init.Period = 1999;
  htim5.Init.ClockDivision = TIM_CLOCKDIVISION_DIV1;
  htim5.Init.AutoReloadPreload = TIM_AUTORELOAD_PRELOAD_DISABLE;
  if (HAL_TIM_PWM_Init(&htim5) != HAL_OK)
  {
    Error_Handler();
  }
  sMasterConfig.MasterOutputTrigger = TIM_TRGO_RESET;
  sMasterConfig.MasterSlaveMode = TIM_MASTERSLAVEMODE_DISABLE;
  if (HAL_TIMEx_MasterConfigSynchronization(&htim5, &sMasterConfig) != HAL_OK)
  {
    Error_Handler();
  }
  sConfigOC.OCMode = TIM_OCMODE_PWM1;
  sConfigOC.Pulse = 0;
  sConfigOC.OCPolarity = TIM_OCPOLARITY_HIGH;
  sConfigOC.OCFastMode = TIM_OCFAST_DISABLE;
  if (HAL_TIM_PWM_ConfigChannel(&htim5, &sConfigOC, TIM_CHANNEL_1) != HAL_OK)
  {
    Error_Handler();
  }
  if (HAL_TIM_PWM_ConfigChannel(&htim5, &sConfigOC, TIM_CHANNEL_2) != HAL_OK)
  {
    Error_Handler();
  }
  if (HAL_TIM_PWM_ConfigChannel(&htim5, &sConfigOC, TIM_CHANNEL_3) != HAL_OK)
  {
    Error_Handler();
  }
  HAL_TIM_MspPostInit(&htim5);

}

static void MX_TIM8_Init(void)
{

  TIM_MasterConfigTypeDef sMasterConfig = {0};
  TIM_OC_InitTypeDef sConfigOC = {0};
  TIM_BreakDeadTimeConfigTypeDef sBreakDeadTimeConfig = {0};

  htim8.Instance = TIM8;
  htim8.Init.Prescaler = 83;
  htim8.Init.CounterMode = TIM_COUNTERMODE_UP;
  htim8.Init.Period = 19999;
  htim8.Init.ClockDivision = TIM_CLOCKDIVISION_DIV1;
  htim8.Init.RepetitionCounter = 0;
  htim8.Init.AutoReloadPreload = TIM_AUTORELOAD_PRELOAD_ENABLE;
  if (HAL_TIM_PWM_Init(&htim8) != HAL_OK)
  {
    Error_Handler();
  }
  sMasterConfig.MasterOutputTrigger = TIM_TRGO_RESET;
  sMasterConfig.MasterSlaveMode = TIM_MASTERSLAVEMODE_DISABLE;
  if (HAL_TIMEx_MasterConfigSynchronization(&htim8, &sMasterConfig) != HAL_OK)
  {
    Error_Handler();
  }
  sConfigOC.OCMode = TIM_OCMODE_PWM1;
  sConfigOC.Pulse = 0;
  sConfigOC.OCPolarity = TIM_OCPOLARITY_HIGH;
  sConfigOC.OCNPolarity = TIM_OCNPOLARITY_HIGH;
  sConfigOC.OCFastMode = TIM_OCFAST_DISABLE;
  sConfigOC.OCIdleState = TIM_OCIDLESTATE_RESET;
  sConfigOC.OCNIdleState = TIM_OCNIDLESTATE_RESET;
  if (HAL_TIM_PWM_ConfigChannel(&htim8, &sConfigOC, TIM_CHANNEL_1) != HAL_OK)
  {
    Error_Handler();
  }
  if (HAL_TIM_PWM_ConfigChannel(&htim8, &sConfigOC, TIM_CHANNEL_2) != HAL_OK)
  {
    Error_Handler();
  }
  if (HAL_TIM_PWM_ConfigChannel(&htim8, &sConfigOC, TIM_CHANNEL_3) != HAL_OK)
  {
    Error_Handler();
  }
  sBreakDeadTimeConfig.OffStateRunMode = TIM_OSSR_DISABLE;
  sBreakDeadTimeConfig.OffStateIDLEMode = TIM_OSSI_DISABLE;
  sBreakDeadTimeConfig.LockLevel = TIM_LOCKLEVEL_OFF;
  sBreakDeadTimeConfig.DeadTime = 0;
  sBreakDeadTimeConfig.BreakState = TIM_BREAK_DISABLE;
  sBreakDeadTimeConfig.BreakPolarity = TIM_BREAKPOLARITY_HIGH;
  sBreakDeadTimeConfig.AutomaticOutput = TIM_AUTOMATICOUTPUT_DISABLE;
  if (HAL_TIMEx_ConfigBreakDeadTime(&htim8, &sBreakDeadTimeConfig) != HAL_OK)
  {
    Error_Handler();
  }
  HAL_TIM_MspPostInit(&htim8);

}

static void MX_TIM10_Init(void)
{

  TIM_OC_InitTypeDef sConfigOC = {0};

  htim10.Instance = TIM10;
  htim10.Init.Prescaler = 0;
  htim10.Init.CounterMode = TIM_COUNTERMODE_UP;
  htim10.Init.Period = 4999;
  htim10.Init.ClockDivision = TIM_CLOCKDIVISION_DIV1;
  htim10.Init.AutoReloadPreload = TIM_AUTORELOAD_PRELOAD_DISABLE;
  if (HAL_TIM_Base_Init(&htim10) != HAL_OK)
  {
    Error_Handler();
  }
  if (HAL_TIM_PWM_Init(&htim10) != HAL_OK)
  {
    Error_Handler();
  }
  sConfigOC.OCMode = TIM_OCMODE_PWM1;
  sConfigOC.Pulse = 0;
  sConfigOC.OCPolarity = TIM_OCPOLARITY_HIGH;
  sConfigOC.OCFastMode = TIM_OCFAST_DISABLE;
  if (HAL_TIM_PWM_ConfigChannel(&htim10, &sConfigOC, TIM_CHANNEL_1) != HAL_OK)
  {
    Error_Handler();
  }
  HAL_TIM_MspPostInit(&htim10);

}

static void MX_USART1_UART_Init(void)
{

  huart1.Instance = USART1;
  huart1.Init.BaudRate = 115200;
  huart1.Init.WordLength = UART_WORDLENGTH_8B;
  huart1.Init.StopBits = UART_STOPBITS_1;
  huart1.Init.Parity = UART_PARITY_NONE;
  huart1.Init.Mode = UART_MODE_TX_RX;
  huart1.Init.HwFlowCtl = UART_HWCONTROL_NONE;
  huart1.Init.OverSampling = UART_OVERSAMPLING_16;
  if (HAL_UART_Init(&huart1) != HAL_OK)
  {
    Error_Handler();
  }

}

static void MX_USART3_UART_Init(void)
{

  huart3.Instance = USART3;
  huart3.Init.BaudRate = 100000;
  huart3.Init.WordLength = UART_WORDLENGTH_8B;
  huart3.Init.StopBits = UART_STOPBITS_1;
  huart3.Init.Parity = UART_PARITY_EVEN;
  huart3.Init.Mode = UART_MODE_TX_RX;
  huart3.Init.HwFlowCtl = UART_HWCONTROL_NONE;
  huart3.Init.OverSampling = UART_OVERSAMPLING_16;
  if (HAL_UART_Init(&huart3) != HAL_OK)
  {
    Error_Handler();
  }

}

static void MX_USART6_UART_Init(void)
{

  huart6.Instance = USART6;
  huart6.Init.BaudRate = 115200;
  huart6.Init.WordLength = UART_WORDLENGTH_8B;
  huart6.Init.StopBits = UART_STOPBITS_1;
  huart6.Init.Parity = UART_PARITY_NONE;
  huart6.Init.Mode = UART_MODE_TX_RX;
  huart6.Init.HwFlowCtl = UART_HWCONTROL_NONE;
  huart6.Init.OverSampling = UART_OVERSAMPLING_16;
  if (HAL_UART_Init(&huart6) != HAL_OK)
  {
    Error_Handler();
  }

}

static void MX_DMA_Init(void)
{

  /* DMA controller clock enable */
  __HAL_RCC_DMA1_CLK_ENABLE();
  __HAL_RCC_DMA2_CLK_ENABLE();

  /* DMA interrupt init */
  /* DMA1_Stream1_IRQn interrupt configuration */
  HAL_NVIC_SetPriority(DMA1_Stream1_IRQn, 5, 0);
  HAL_NVIC_EnableIRQ(DMA1_Stream1_IRQn);
  /* DMA1_Stream2_IRQn interrupt configuration */
  HAL_NVIC_SetPriority(DMA1_Stream2_IRQn, 5, 0);
  HAL_NVIC_EnableIRQ(DMA1_Stream2_IRQn);
  /* DMA1_Stream4_IRQn interrupt configuration */
  HAL_NVIC_SetPriority(DMA1_Stream4_IRQn, 5, 0);
  HAL_NVIC_EnableIRQ(DMA1_Stream4_IRQn);
  /* DMA1_Stream7_IRQn interrupt configuration */
  HAL_NVIC_SetPriority(DMA1_Stream7_IRQn, 5, 0);
  HAL_NVIC_EnableIRQ(DMA1_Stream7_IRQn);
  /* DMA2_Stream1_IRQn interrupt configuration */
  HAL_NVIC_SetPriority(DMA2_Stream1_IRQn, 5, 0);
  HAL_NVIC_EnableIRQ(DMA2_Stream1_IRQn);
  /* DMA2_Stream2_IRQn interrupt configuration */
  HAL_NVIC_SetPriority(DMA2_Stream2_IRQn, 5, 0);
  HAL_NVIC_EnableIRQ(DMA2_Stream2_IRQn);
  /* DMA2_Stream3_IRQn interrupt configuration */
  HAL_NVIC_SetPriority(DMA2_Stream3_IRQn, 5, 0);
  HAL_NVIC_EnableIRQ(DMA2_Stream3_IRQn);
  /* DMA2_Stream5_IRQn interrupt configuration */
  HAL_NVIC_SetPriority(DMA2_Stream5_IRQn, 5, 0);
  HAL_NVIC_EnableIRQ(DMA2_Stream5_IRQn);
  /* DMA2_Stream6_IRQn interrupt configuration */
  HAL_NVIC_SetPriority(DMA2_Stream6_IRQn, 5, 0);
  HAL_NVIC_EnableIRQ(DMA2_Stream6_IRQn);
  /* DMA2_Stream7_IRQn interrupt configuration */
  HAL_NVIC_SetPriority(DMA2_Stream7_IRQn, 5, 0);
  HAL_NVIC_EnableIRQ(DMA2_Stream7_IRQn);

}

static void MX_GPIO_Init(void)
{
  GPIO_InitTypeDef GPIO_InitStruct = {0};

  /* GPIO Ports Clock Enable */
  __HAL_RCC_GPIOB_CLK_ENABLE();
  __HAL_RCC_GPIOG_CLK_ENABLE();
  __HAL_RCC_GPIOA_CLK_ENABLE();
  __HAL_RCC_GPIOD_CLK_ENABLE();
  __HAL_RCC_GPIOC_CLK_ENABLE();
  __HAL_RCC_GPIOI_CLK_ENABLE();
  __HAL_RCC_GPIOH_CLK_ENABLE();
  __HAL_RCC_GPIOF_CLK_ENABLE();
  __HAL_RCC_GPIOE_CLK_ENABLE();

  /*Configure GPIO pin Output Level */
  HAL_GPIO_WritePin(GPIOG, GPIO_PIN_6, GPIO_PIN_RESET);

  /*Configure GPIO pin Output Level */
  HAL_GPIO_WritePin(GPIOA, GPIO_PIN_4, GPIO_PIN_RESET);

  /*Configure GPIO pin Output Level */
  HAL_GPIO_WritePin(GPIOB, GPIO_PIN_0, GPIO_PIN_RESET);

  /*Configure GPIO pin : PG6 */
  GPIO_InitStruct.Pin = GPIO_PIN_6;
  GPIO_InitStruct.Mode = GPIO_MODE_OUTPUT_PP;
  GPIO_InitStruct.Pull = GPIO_NOPULL;
  GPIO_InitStruct.Speed = GPIO_SPEED_FREQ_LOW;
  HAL_GPIO_Init(GPIOG, &GPIO_InitStruct);

  /*Configure GPIO pin : PG3 */
  GPIO_InitStruct.Pin = GPIO_PIN_3;
  GPIO_InitStruct.Mode = GPIO_MODE_IT_RISING;
  GPIO_InitStruct.Pull = GPIO_NOPULL;
  HAL_GPIO_Init(GPIOG, &GPIO_InitStruct);

  /*Configure GPIO pin : PA0 */
  GPIO_InitStruct.Pin = GPIO_PIN_0;
  GPIO_InitStruct.Mode = GPIO_MODE_INPUT;
  GPIO_InitStruct.Pull = GPIO_NOPULL;
  HAL_GPIO_Init(GPIOA, &GPIO_InitStruct);

  /*Configure GPIO pin : PA4 */
  GPIO_InitStruct.Pin = GPIO_PIN_4;
  GPIO_InitStruct.Mode = GPIO_MODE_OUTPUT_PP;
  GPIO_InitStruct.Pull = GPIO_NOPULL;
  GPIO_InitStruct.Speed = GPIO_SPEED_FREQ_LOW;
  HAL_GPIO_Init(GPIOA, &GPIO_InitStruct);

  /*Configure GPIO pins : INT1_ACCEL_Pin_Pin INT1_GRYO_Pin_Pin */
  GPIO_InitStruct.Pin = INT1_ACCEL_Pin_Pin|INT1_GRYO_Pin_Pin;
  GPIO_InitStruct.Mode = GPIO_MODE_IT_RISING;
  GPIO_InitStruct.Pull = GPIO_NOPULL;
  HAL_GPIO_Init(GPIOC, &GPIO_InitStruct);

  /*Configure GPIO pin : PB0 */
  GPIO_InitStruct.Pin = GPIO_PIN_0;
  GPIO_InitStruct.Mode = GPIO_MODE_OUTPUT_PP;
  GPIO_InitStruct.Pull = GPIO_NOPULL;
  GPIO_InitStruct.Speed = GPIO_SPEED_FREQ_LOW;
  HAL_GPIO_Init(GPIOB, &GPIO_InitStruct);

  /* EXTI interrupt init*/
  HAL_NVIC_SetPriority(EXTI3_IRQn, 5, 0);
  HAL_NVIC_EnableIRQ(EXTI3_IRQn);

  HAL_NVIC_SetPriority(EXTI4_IRQn, 5, 0);
  HAL_NVIC_EnableIRQ(EXTI4_IRQn);

}

/* USER CODE BEGIN 4 */

/*
 * 	int16_t sumI1 =0;
 * 	int8_t isNegativeRegion1 = 0;
 * 	int8_t previousRegion1 = 0;
 * 	int16_t prevDiff1 = 0;
 * 	int16_t rcVal = (getRCchannel(1)*0.88f)+6161;
 * 	int16_t DifferenceBetweenCurrentAndWannabePosition = rcVal-testmotor;
 * 	setGM6020voltageRPM(6, positionPIDByMe(&prevDiff1, &isNegativeRegion1, &previousRegion1, DifferenceBetweenCurrentAndWannabePosition, &sumI1, kPu, kIu, kDu), DONUTMOTOR);
*/

int16_t positionPIDByMe(int16_t *prevDiff, int8_t *isNegativeRegion1, int8_t *previousRegion1, int16_t DifferenceBetweenCurrentAndWannabePosition, int16_t *sumI1, float kPu, float kIu, float kDu) {
	if (DifferenceBetweenCurrentAndWannabePosition >= 0) {
		*isNegativeRegion1 = -1;
	} else {
		*isNegativeRegion1 = 1;
	}
	if (*isNegativeRegion1 != *previousRegion1) {
		*sumI1 = 0;
	}
	*previousRegion1 = *isNegativeRegion1;
	*sumI1 += (int)((float)(DifferenceBetweenCurrentAndWannabePosition)*0.005f);
	int16_t PositionToGo = (int)(kPu*(float)(DifferenceBetweenCurrentAndWannabePosition));
	int16_t IntegralToGo = (int)(kIu*((float)(*sumI1)));
	int16_t DerivativeToGo = (int)((kDu)*((float)(DifferenceBetweenCurrentAndWannabePosition - *prevDiff))*(float)200);
	*prevDiff = DifferenceBetweenCurrentAndWannabePosition;
	return PositionToGo+IntegralToGo+DerivativeToGo;
}
/* USER CODE END 4 */

void TaskMain(void *argument)
{
  /* USER CODE BEGIN 5 */
  /* Infinite loop */
	// HAL_GPIO_WritePin(GPIOH, GPIO_PIN_10, 1);
	// __HAL_TIM_PRESCALER(&htim4, 2);
	// HAL_TIM_PWM_Start(&htim4, TIM_CHANNEL_3);
	// HAL_TIM_Base_Start(&htim4);
	if (BMI088_accel_init()) {
		// usart_printf("WARNING - BMI088 accelerometer init failed \r\n");
	}
	if (BMI088_gyro_init()) {
		// usart_printf("WARNING - BMI088 gyroscope init failed \r\n");
	}
	if (ist8310_init()) {
		// usart_printf("WARNING - IST8310 compass init failed \r\n");
	}
	// (htim5).Instance->CCR2=999;
	// osDelay(150);
	// __HAL_TIM_PRESCALER(&htim4, 0);
	// osDelay(150);
	// HAL_TIM_PWM_Stop(&htim4, TIM_CHANNEL_3);
	for(;;) {
		// HAL_GPIO_WritePin(GPIOH, GPIO_PIN_10, 0);
		//set_motor_voltage(5, 4000);

		// HAL_TIM_PWM_Start(&htim5, TIM_CHANNEL_2);

		// PWMOn(LED,1);
		PWMOutput(LED, 1, 500);
		PWMInitialize(LED, FR, 1, 0.9);
		// PWMTimerStarter();
		// usart_printf("on\r\n");
		osDelay(500);
		//sendB2bData(CAN_b2b_A_ID, 1, 1, 1, 1);
		// HAL_GPIO_WritePin(GPIOH, GPIO_PIN_10, 1);
		//set_motor_voltage(5, -4000);
		// HAL_TIM_PWM_Stop(&htim5, TIM_CHANNEL_2);
		PWMOff(LED, 1);
		// PWMTimerStarter();
		// usart_printf("off\r\n");
		osDelay(500);
		//sendB2bData(CAN_b2b_A_ID, 0, 0, 0, 0);
		//usart_printf("ACTIVE = %d \r\n", power_heat_data.chassis_power);
	}
  /* USER CODE END 5 */
}

void TaskChassis(void *argument)
{
  /* USER CODE BEGIN TaskChassis */
	/* USER CODE BEGIN TaskChassis */

	for(;;) {

		if (HAL_GPIO_ReadPin (GPIOA, GPIO_PIN_0)) {
			setM3508RPM(1, 0, chassisPreset);
		} else {
			setM3508RPM(1, -5000, chassisPreset);
		}

		PWMTimerStarter();
		osDelay(5);
    }
  /* USER CODE END TaskChassis */
}

__weak void imu_temp_control_task(void *argument)
{
  for(;;)
  {
    osDelay(1);
  }
}

void TaskTurret(void *argument)
{
  for(;;)
  {
    osDelay(1);
  }
}

void Error_Handler(void)
{
  __disable_irq();
  while (1)
  {
  }
}
